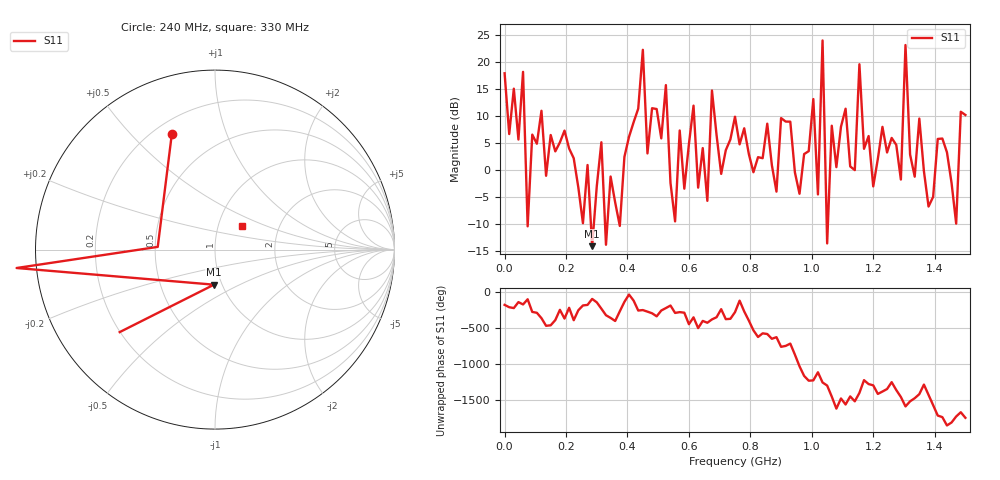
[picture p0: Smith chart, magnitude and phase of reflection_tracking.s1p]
! Created with skrf 1.8.0 (http://scikit-rf.org).
# Hz S RI R 50.0
!freq ReS11 ImS11
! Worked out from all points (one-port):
!   101 points, 50 kHz to 1.5 GHz, reference 50 ohm
!   lowest |S11| = -14.2 dB at 285 MHz (marker M1), VSWR 1.49, Z = 45.8 - j18.6 ohm
!   |S11| at or under -10 dB: 74.79 MHz to 75.48 MHz (686.1 kHz wide, 0.913 % of centre); 280.9 MHz to 290.7 MHz (9.792 MHz wide, 3.43 % of centre); 327 MHz to 334.7 MHz (7.71 MHz wide, 2.33 % of centre) (the widest 3 of 5)
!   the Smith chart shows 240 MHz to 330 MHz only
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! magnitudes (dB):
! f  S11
! 50 kHz  18.0
! 60.05 MHz  18.2
! 75.05 MHz  -10.5
! 195 MHz  7.3
! 285 MHz  -14.2
! 315 MHz  5.1
! 330 MHz  -13.9
! 375 MHz  -10.4
! 450 MHz  22.3
! 465 MHz  3.1
! 525 MHz  15.8
! 555 MHz  -9.6
! 570 MHz  7.3
! 750 MHz  9.9
! 945 MHz  -0.5
! 1.005 GHz  13.2
! 1.02 GHz  -4.6
! 1.035 GHz  24.1
! 1.05 GHz  -13.7
! 1.065 GHz  8.2
! 1.125 GHz  0.6
! 1.155 GHz  19.6
! 1.2 GHz  -3.1
! 1.29 GHz  -1.8
! 1.305 GHz  23.2
! 1.32 GHz  2.8
! 1.47 GHz  -10.0
! 1.5 GHz  10.2
